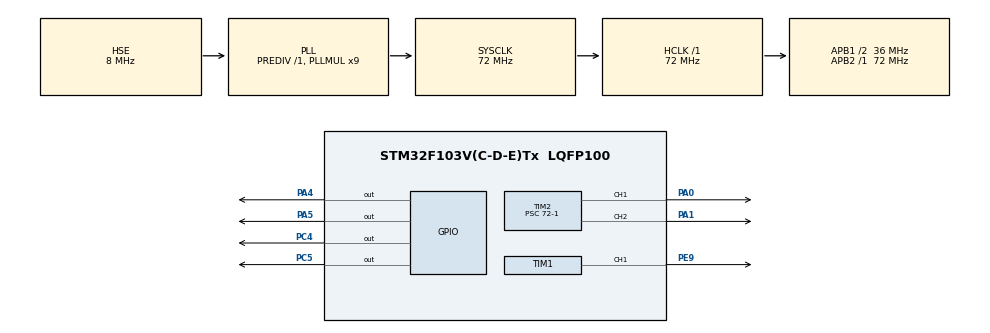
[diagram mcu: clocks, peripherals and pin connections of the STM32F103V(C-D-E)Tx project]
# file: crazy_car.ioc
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Mcu.Family=STM32F1
Mcu.Name=STM32F103V(C-D-E)Tx
Mcu.Package=LQFP100
NVIC.PriorityGroup=NVIC_PRIORITYGROUP_4
OSC_IN.Mode=HSE-External-Oscillator
OSC_IN.Signal=RCC_OSC_IN
OSC_OUT.Mode=HSE-External-Oscillator
OSC_OUT.Signal=RCC_OSC_OUT
PA0-WKUP.Signal=S_TIM2_CH1_ETR
PA1.Signal=S_TIM2_CH2
PA13.Mode=Serial_Wire
PA13.Signal=SYS_JTMS-SWDIO
PA14.Mode=Serial_Wire
PA14.Signal=SYS_JTCK-SWCLK
PA4.GPIO_PuPd=GPIO_NOPULL
PA4.Signal=GPIO_Output
PA5.GPIO_PuPd=GPIO_NOPULL
PA5.Signal=GPIO_Output
PC14-OSC32_IN.Mode=LSE-External-Oscillator
PC14-OSC32_IN.Signal=RCC_OSC32_IN
PC15-OSC32_OUT.Mode=LSE-External-Oscillator
PC15-OSC32_OUT.Signal=RCC_OSC32_OUT
PC4.Signal=GPIO_Output
PC5.Signal=GPIO_Output
PE9.Signal=S_TIM1_CH1
ProjectManager.HeapSize=0x200
ProjectManager.StackSize=0x400
ProjectManager.TargetToolchain=Makefile
RCC.AHBFreq_Value=72000000
RCC.APB1CLKDivider=RCC_HCLK_DIV2
RCC.APB1Freq_Value=36000000
RCC.APB1TimFreq_Value=72000000
RCC.APB2Freq_Value=72000000
RCC.APB2TimFreq_Value=72000000
RCC.HCLKFreq_Value=72000000
RCC.PLLMUL=RCC_PLL_MUL9
RCC.PLLSourceVirtual=RCC_PLLSOURCE_HSE
RCC.SYSCLKFreq_VALUE=72000000
RCC.SYSCLKSource=RCC_SYSCLKSOURCE_PLLCLK
RCC.USBFreq_Value=72000000
SH.S_TIM1_CH1.0=TIM1_CH1,PWM Generation1 CH1
SH.S_TIM2_CH1_ETR.0=TIM2_CH1,PWM Generation1 CH1
SH.S_TIM2_CH2.0=TIM2_CH2,PWM Generation2 CH2
TIM1.Channel-PWM\ Generation1\ CH1=TIM_CHANNEL_1
TIM1.OCPolarity_1=TIM_OCPOLARITY_HIGH
TIM1.Period=20000
TIM1.Prescaler=72-1
TIM1.Pulse-PWM\ Generation1\ CH1=1500
TIM2.Channel-PWM\ Generation1\ CH1=TIM_CHANNEL_1
TIM2.Channel-PWM\ Generation2\ CH2=TIM_CHANNEL_2
TIM2.Period=10000-1
TIM2.Prescaler=72-1
TIM2.Pulse-PWM\ Generation1\ CH1=5000-1
TIM2.Pulse-PWM\ Generation2\ CH2=5000-1
VP_TIM1_VS_ClockSourceINT.Mode=Internal
VP_TIM2_VS_ClockSourceINT.Mode=Internal
board=custom

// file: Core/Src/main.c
/* USER CODE BEGIN Header */
/**
  ******************************************************************************
  * @file           : main.c
  * @brief          : Main program body
  ******************************************************************************
  * @attention
  *
  * Copyright (c) 2024 STMicroelectronics.
  * All rights reserved.
  *
  * This software is licensed under terms that can be found in the LICENSE file
  * in the root directory of this software component.
  * If no LICENSE file comes with this software, it is provided AS-IS.
  *
  ******************************************************************************
  */
/* USER CODE END Header */
#include "main.h"
#include "tim.h"
#include "gpio.h"

void SystemClock_Config(void);

/* USER CODE BEGIN 0 */

void delayUs(unsigned int us)
{
  unsigned int count = us * 72 / 5;
  while (count--) {
    __NOP();
  }
}

void delayMs(unsigned int ms)
{
  while (ms--) {
    delayUs(1000);
  }
}

/* USER CODE END 0 */

int main(void)
{

  /* MCU Configuration--------------------------------------------------------*/

  /* Reset of all peripherals, Initializes the Flash interface and the Systick. */
  HAL_Init();

  /* Configure the system clock */
  SystemClock_Config();

  /* Initialize all configured peripherals */
  MX_GPIO_Init();
  MX_TIM1_Init();
  MX_TIM2_Init();
  /* USER CODE BEGIN 2 */
  //HAL_TIM_Base_Start (&htim1);
  HAL_TIM_PWM_Start (&htim1, TIM_CHANNEL_1);
  HAL_TIM_PWM_Start (&htim2, TIM_CHANNEL_1);
  HAL_TIM_PWM_Start (&htim2, TIM_CHANNEL_2);
  //__HAL_TIM_SetCompare(&htim1 , TIM_CHANNEL_1 , 200-1);

  /* USER CODE END 2 */

  /* Infinite loop */
  while (1)
  {

    /* USER CODE BEGIN 3 */
    unsigned int delay = 100;
    HAL_GPIO_WritePin(GPIOA, GPIO_PIN_4, GPIO_PIN_SET);
    HAL_GPIO_WritePin(GPIOA, GPIO_PIN_5, GPIO_PIN_RESET);
    HAL_GPIO_WritePin(GPIOC, GPIO_PIN_4, GPIO_PIN_SET);
    HAL_GPIO_WritePin(GPIOC, GPIO_PIN_5, GPIO_PIN_RESET);
    __HAL_TIM_SetCompare(&htim1 , TIM_CHANNEL_1 , 1000-1);
    delayMs(200);
    HAL_GPIO_WritePin(GPIOA, GPIO_PIN_4, GPIO_PIN_RESET);
    HAL_GPIO_WritePin(GPIOA, GPIO_PIN_5, GPIO_PIN_RESET);
    HAL_GPIO_WritePin(GPIOC, GPIO_PIN_4, GPIO_PIN_RESET);
    HAL_GPIO_WritePin(GPIOC, GPIO_PIN_5, GPIO_PIN_RESET);
    __HAL_TIM_SetCompare(&htim1 , TIM_CHANNEL_1 , 1500-1);
    delayMs(200);
    HAL_GPIO_WritePin(GPIOA, GPIO_PIN_4, GPIO_PIN_RESET);
    HAL_GPIO_WritePin(GPIOA, GPIO_PIN_5, GPIO_PIN_SET);
    HAL_GPIO_WritePin(GPIOC, GPIO_PIN_4, GPIO_PIN_RESET);
    HAL_GPIO_WritePin(GPIOC, GPIO_PIN_5, GPIO_PIN_SET);
    __HAL_TIM_SetCompare(&htim1 , TIM_CHANNEL_1 , 2000-1);
    delayMs(200);
    HAL_GPIO_WritePin(GPIOA, GPIO_PIN_4, GPIO_PIN_RESET);
    HAL_GPIO_WritePin(GPIOA, GPIO_PIN_5, GPIO_PIN_RESET);
    HAL_GPIO_WritePin(GPIOC, GPIO_PIN_4, GPIO_PIN_RESET);
    HAL_GPIO_WritePin(GPIOC, GPIO_PIN_5, GPIO_PIN_RESET);
    __HAL_TIM_SetCompare(&htim1 , TIM_CHANNEL_1 , 1500-1);
    delayMs(200);
  }
  /* USER CODE END 3 */
}

void SystemClock_Config(void)
{
  RCC_OscInitTypeDef RCC_OscInitStruct = {0};
  RCC_ClkInitTypeDef RCC_ClkInitStruct = {0};

  /** Initializes the RCC Oscillators according to the specified parameters
  * in the RCC_OscInitTypeDef structure.
  */
  RCC_OscInitStruct.OscillatorType = RCC_OSCILLATORTYPE_HSE;
  RCC_OscInitStruct.HSEState = RCC_HSE_ON;
  RCC_OscInitStruct.HSEPredivValue = RCC_HSE_PREDIV_DIV1;
  RCC_OscInitStruct.HSIState = RCC_HSI_ON;
  RCC_OscInitStruct.PLL.PLLState = RCC_PLL_ON;
  RCC_OscInitStruct.PLL.PLLSource = RCC_PLLSOURCE_HSE;
  RCC_OscInitStruct.PLL.PLLMUL = RCC_PLL_MUL9;
  if (HAL_RCC_OscConfig(&RCC_OscInitStruct) != HAL_OK)
  {
    Error_Handler();
  }

  /** Initializes the CPU, AHB and APB buses clocks
  */
  RCC_ClkInitStruct.ClockType = RCC_CLOCKTYPE_HCLK|RCC_CLOCKTYPE_SYSCLK
                              |RCC_CLOCKTYPE_PCLK1|RCC_CLOCKTYPE_PCLK2;
  RCC_ClkInitStruct.SYSCLKSource = RCC_SYSCLKSOURCE_PLLCLK;
  RCC_ClkInitStruct.AHBCLKDivider = RCC_SYSCLK_DIV1;
  RCC_ClkInitStruct.APB1CLKDivider = RCC_HCLK_DIV2;
  RCC_ClkInitStruct.APB2CLKDivider = RCC_HCLK_DIV1;

  if (HAL_RCC_ClockConfig(&RCC_ClkInitStruct, FLASH_LATENCY_2) != HAL_OK)
  {
    Error_Handler();
  }
}

void Error_Handler(void)
{
  __disable_irq();
  while (1)
  {
  }
}
